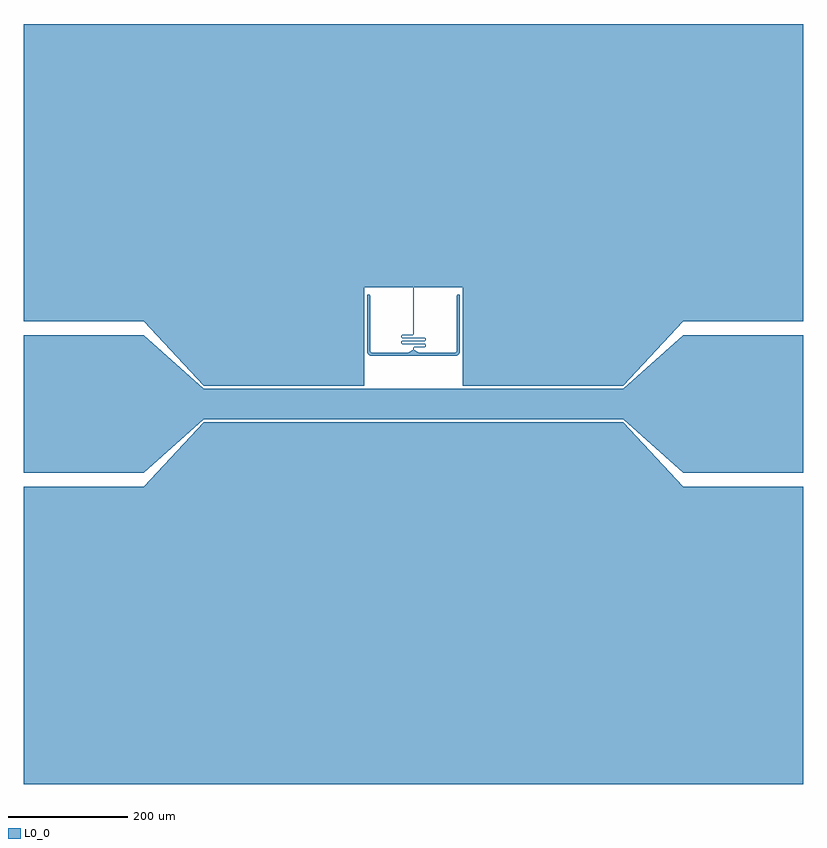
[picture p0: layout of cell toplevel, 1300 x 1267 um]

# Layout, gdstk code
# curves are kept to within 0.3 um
import gdstk
lib = gdstk.Library(unit=1e-6, precision=1e-09)
def P(c, l, *ps):  # polygons
    for p in ps: c.add(gdstk.Polygon(p, *l))
L0_0 = (0, 0)

toplevel = lib.new_cell('toplevel')
P(toplevel, L0_0, [(82.5,195.05),(82.5,30.05),(350,30.05),(450,137.954),(650,137.954),(650,633.5),(-650,633.5),(-650,137.954),(-450,137.954),(-350,30.05),(-82.5,30.05),(-82.5,195.05)],
  [(650,-633.5),(650,-137.954),(450,-137.954),(350,-30.05),(-350,-30.05),(-450,-137.954),(-650,-137.954),(-650,-633.5)],
  [(-75.109,182.548),(-76.768,181.818),(-77.498,180.159),(-77.495,90.812),(-76.51,85.287),(-75.241,83.23),(-73.502,81.704),(-70.509,80.455),(-66.598,80.053),(66.879,80.057),(72.263,81.039),(74.271,82.267),(75.811,83.995),(77.108,87.095),(77.499,91.228),(77.5,180.05),(77.218,181.204),(76.343,182.158),(75.109,182.548),(73.846,182.267),(72.892,181.393),(72.502,180.159),(72.493,90.72),(72.07,87.648),(70.83,85.931),(69.09,85.261),(66.336,85.051),(-66.125,85.05),(-68.96,85.236),(-70.871,85.959),(-71.911,87.249),(-72.426,89.418),(-72.502,180.159),(-73.311,181.893)],
  [(0.3,90.05),(0.345,93.627),(0.59,94.256),(1.075,94.612),(2.026,94.749),(18.666,94.801),(19.488,95.106),(20.016,95.681),(20.262,96.476),(20.3,97.806),(20.219,98.867),(19.893,99.612),(19.29,100.106),(18.425,100.329),(-18.105,100.353),(-19.173,100.617),(-19.642,101.4),(-19.577,103.934),(-19.186,104.474),(-18.456,104.723),(18.189,104.756),(18.969,104.87),(19.562,105.157),(19.978,105.616),(20.224,106.256),(20.294,108.239),(20.107,109.227),(19.531,109.965),(18.551,110.316),(-18.095,110.353),(-19.159,110.607),(-19.634,111.364),(-19.612,113.823),(-19.299,114.382),(-18.721,114.675),(-1.62,114.767),(-0.407,115.181),(-0.022,115.616),(0.211,116.198),(0.3,195.05),(-0.3,195.05),(-0.372,116.338),(-0.807,115.631),(-1.746,115.36),(-18.887,115.252),(-19.693,114.835),(-20.158,114.088),(-20.298,113.117),(-20.219,111.233),(-19.971,110.605),(-19.552,110.15),(-18.957,109.867),(-18.189,109.756),(18.456,109.723),(19.186,109.474),(19.577,108.934),(19.697,108.135),(19.64,106.391),(19.173,105.617),(18.105,105.353),(-18.551,105.316),(-19.52,104.972),(-20.103,104.238),(-20.293,103.261),(-20.229,101.279),(-19.991,100.637),(-19.573,100.165),(-18.969,99.87),(-18.189,99.756),(18.351,99.733),(19.004,99.578),(19.424,99.236),(19.647,98.673),(19.7,97.806),(19.513,96.015),(19.138,95.594),(18.503,95.383),(2.009,95.349),(0.858,95.171),(0.163,94.684),(-0.219,93.867),(-0.3,90.05)],
  [(10,85.05),(0.3,90.05),(-0.3,90.05),(-10,85.05)],
  [(-350,25.05),(-450,115),(-650,115),(-650,-115),(-450,-115),(-350,-25.05),(350,-25.05),(450,-115),(650,-115),(650,115),(450,115),(350,25.05)])

lib.write_gds('toplevel.gds')
